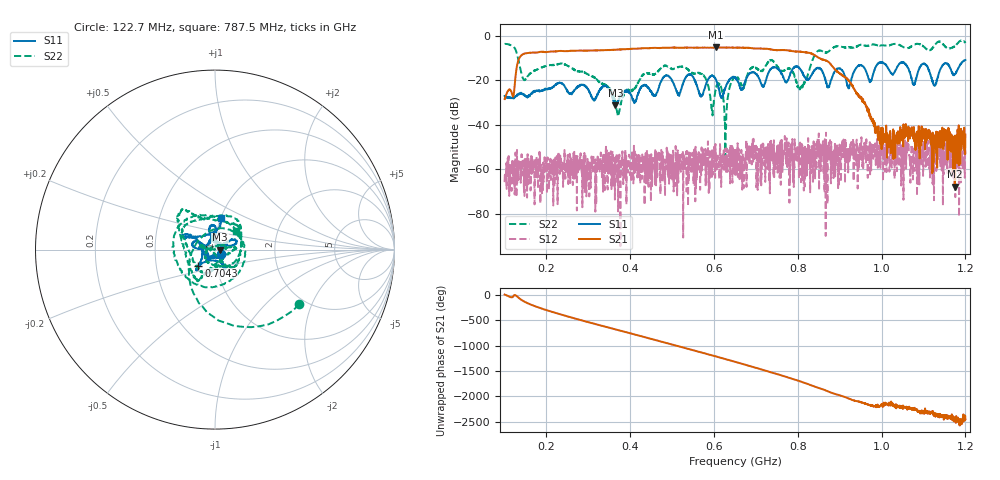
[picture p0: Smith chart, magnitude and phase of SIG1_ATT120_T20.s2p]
# Hz S DB R 50
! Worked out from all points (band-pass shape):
!   1601 points, 100 MHz to 1.2 GHz, reference 50 ohm
!   highest |S21| = -5.12 dB at 605.3 MHz (marker M1); lowest = -67.8 dB at 1.175 GHz (marker M2)
!   |S21| within 3 dB of the highest: 144.7 MHz to 834.8 MHz (690.1 MHz wide, 141 % of centre); 835.3413 MHz to 835.7115 MHz (370.2 kHz wide, 0.0443 % of centre)
!   lowest |S11| = -31.1 dB at 364.7 MHz (marker M3), VSWR 1.06, Z = 52.9 - j0.0662 ohm
!   |S11| at or under -10 dB: start of sweep to end of sweep
!   |S22| runs from -56.7 to -2.0 dB; largest |S21 - S12| = 0.56
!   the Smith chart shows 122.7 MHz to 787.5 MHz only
!   S11 on the Smith chart (normalised r, x): 122.7 MHz: 1.06, -0.05; 704.3 MHz: 0.82, -0.15; 787.5 MHz: 1.00, +0.36
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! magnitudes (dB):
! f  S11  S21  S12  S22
! 100 MHz  -27.0  -28.3  -65.8  -3.6
! 122.7 MHz  -28.0  -25.0  -67.3  -5.1
! 144.7 MHz  -26.1  -8.1  -59.6  -19.4
! 283.6 MHz  -22.0  -6.6  -58.1  -16.0
! 364.7 MHz  -31.1  -6.1  -59.9  -30.6
! 467.1 MHz  -23.7  -5.3  -52.5  -15.5
! 542.1 MHz  -17.1  -5.2  -56.5  -15.9
! 570.2 MHz  -27.1  -5.2  -50.1  -17.1
! 595.7 MHz  -17.6  -5.2  -62.4  -33.8
! 605.3 MHz  -19.9  -5.1  -53.8  -23.2
! 616.3 MHz  -27.3  -5.2  -54.3  -22.7
! 628 MHz  -22.8  -5.2  -54.1  -41.3
! 650 MHz  -18.6  -5.2  -52.3  -18.5
! 704.3 MHz  -17.9  -5.7  -69.3  -15.1
! 787.5 MHz  -14.9  -6.8  -58.7  -16.1
! 806.8 MHz  -15.3  -7.0  -51.1  -23.1
! 833.6 MHz  -17.4  -8.0  -52.9  -11.6
! 919.5 MHz  -22.9  -19.5  -50.4  -5.0
! 946.3 MHz  -13.1  -27.3  -50.5  -4.2
! 1.017 GHz  -15.1  -45.4  -49.0  -4.3
! 1.175 GHz  -17.3  -67.8  -50.3  -4.5
! 1.2 GHz  -10.8  -44.4  -53.2  -3.1
